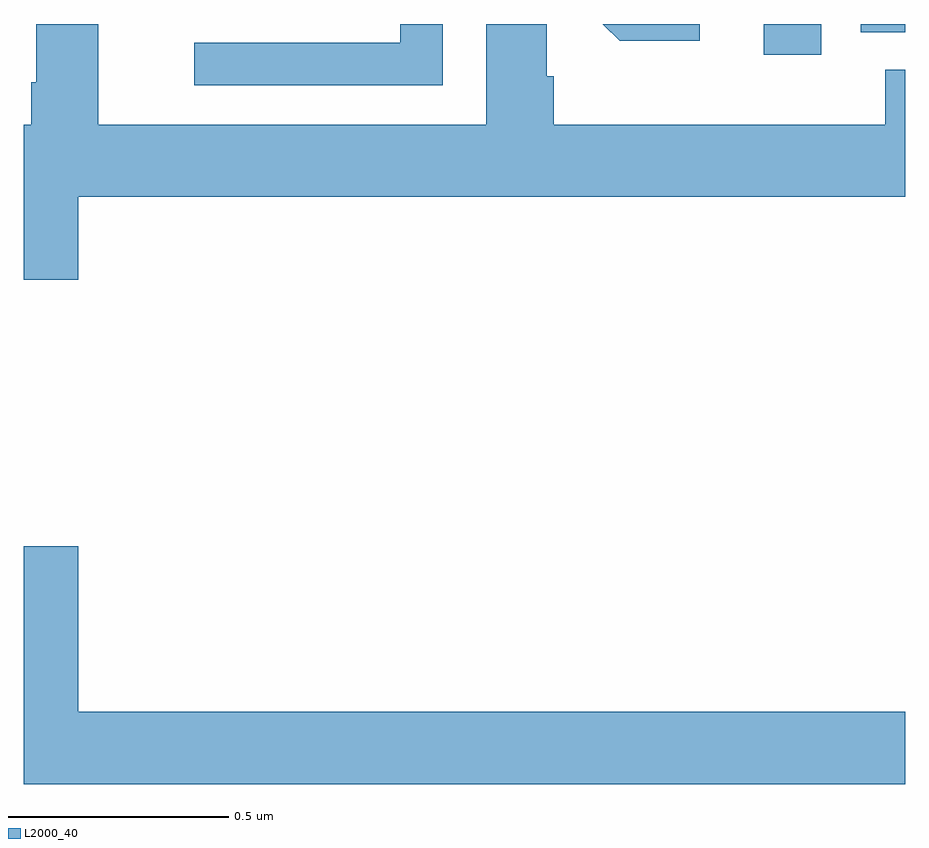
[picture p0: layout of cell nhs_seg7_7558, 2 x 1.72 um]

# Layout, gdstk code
import gdstk
lib = gdstk.Library(unit=1e-6, precision=1e-09)
def R(c, l, rs):  # rectangles x0, y0, x1, y1
    for r in rs: c.add(gdstk.rectangle(r[:2], r[2:], *l))
def P(c, l, *ps):  # polygons
    for p in ps: c.add(gdstk.Polygon(p, *l))
L2000_40 = (2000, 40)

nhs_seg7_7558 = lib.new_cell('nhs_seg7_7558')
R(nhs_seg7_7558, L2000_40, [(214.679,1008.93,214.809,1009), (214.899,1008.981,215,1009)])
P(nhs_seg7_7558, L2000_40, [(213.124,1008.608),(215,1008.608),(215,1008.896),(214.955,1008.896),(214.955,1008.772),(214.202,1008.772),(214.202,1008.882),(214.187,1008.882),(214.187,1009),(214.049,1009),(214.049,1008.772),(213.169,1008.772),(213.169,1009),(213.029,1009),(213.029,1008.868),(213.017,1008.868),(213.017,1008.772),(213,1008.772),(213,1008.42),(213.124,1008.42)],
  [(213.951,1009),(213.854,1009),(213.854,1008.957),(213.387,1008.957),(213.387,1008.861),(213.951,1008.861)],
  [(214.534,1009),(214.314,1009),(214.352,1008.962),(214.534,1008.962)],
  [(215,1007.44),(213.124,1007.44),(213.124,1007.815),(213,1007.815),(213,1007.276),(215,1007.276)])

lib.write_gds('nhs_seg7_7558.gds')
